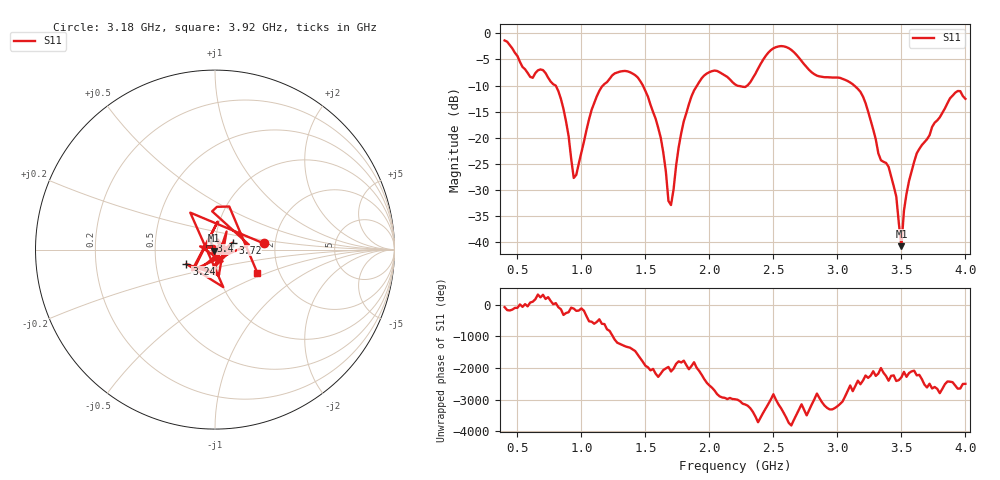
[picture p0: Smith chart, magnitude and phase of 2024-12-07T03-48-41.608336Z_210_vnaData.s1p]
!Created with skrf (http://scikit-rf.org).
# Hz S RI R 50.0
!freq ReS11 ImS11
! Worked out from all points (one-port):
!   181 points, 400 MHz to 4 GHz, reference 50 ohm
!   lowest |S11| = -40.8 dB at 3.5 GHz (marker M1), VSWR 1.02, Z = 49.4 - j0.641 ohm
!   |S11| at or under -10 dB: 798.5 MHz to 1.168 GHz (369.8 MHz wide, 37.6 % of centre); 1.481 GHz to 1.903 GHz (422.9 MHz wide, 25 % of centre); 3.131 GHz to end of sweep (the widest 3 of 4)
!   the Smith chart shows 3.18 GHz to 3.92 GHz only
!   S11 on the Smith chart (normalised r, x): 3.18 GHz: 1.74, +0.13; 3.24 GHz: 0.72, -0.12; 3.4 GHz: 0.95, +0.09; 3.72 GHz: 1.21, +0.09; 3.92 GHz: 1.54, -0.43
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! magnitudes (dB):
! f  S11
! 400 MHz  -1.3
! 600 MHz  -8.3
! 720 MHz  -7.6
! 860 MHz  -14.5
! 940 MHz  -27.7
! 1.12 GHz  -12.1
! 1.3 GHz  -7.3
! 1.52 GHz  -12.1
! 1.62 GHz  -20.0
! 1.7 GHz  -32.9
! 1.76 GHz  -21.8
! 1.94 GHz  -8.6
! 2.2 GHz  -9.8
! 2.3 GHz  -9.9
! 2.5 GHz  -2.9
! 2.66 GHz  -3.6
! 3.1 GHz  -9.4
! 3.18 GHz  -11.2
! 3.24 GHz  -15.0
! 3.32 GHz  -23.0
! 3.4 GHz  -25.6
! 3.46 GHz  -31.3
! 3.5 GHz  -40.8
! 3.52 GHz  -34.0
! 3.56 GHz  -28.3
! 3.72 GHz  -19.5
! 3.92 GHz  -11.4
! 4 GHz  -12.5
